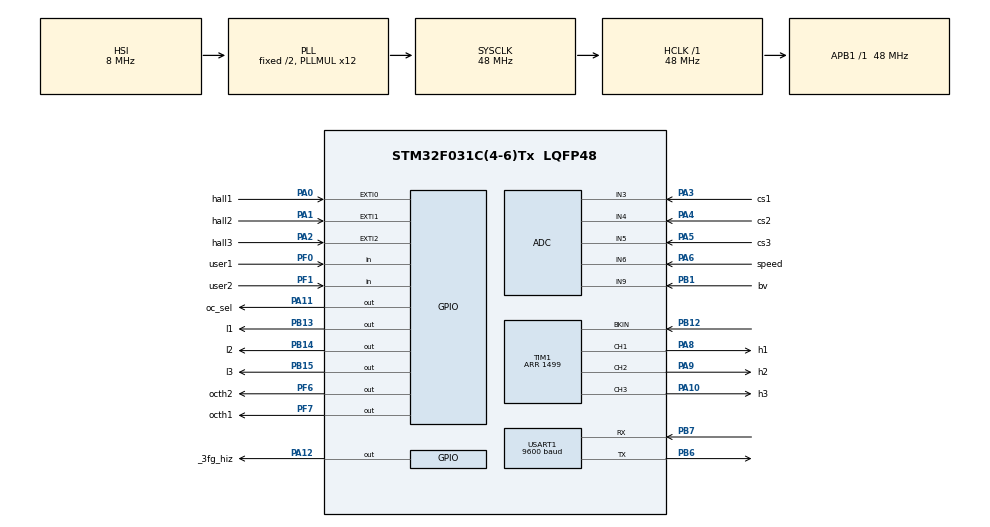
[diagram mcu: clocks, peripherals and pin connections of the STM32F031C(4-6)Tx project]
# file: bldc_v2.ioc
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Mcu.Family=STM32F0
PA11.GPIO_Speed=GPIO_SPEED_FREQ_HIGH
PA6.Mode=IN6
Dma.ADC.0.Mode=DMA_CIRCULAR
TIM1.RepetitionCounter=1
USART1.BaudRate=9600
PB14.GPIO_Label=l2
PA0.GPIO_Label=hall1
Dma.ADC.0.Priority=DMA_PRIORITY_LOW
PA6.GPIO_Label=speed
PB13.GPIO_Label=l1
PB13.Signal=GPIO_Output
PB15.Signal=GPIO_Output
PF6.GPIO_Label=octh2
RCC.SYSCLKSource=RCC_SYSCLKSOURCE_PLLCLK
ProjectManager.StackSize=0x400
PA12.Signal=GPIO_Output
PA4.Mode=IN4
PF7.Signal=GPIO_Output
Dma.ADC.0.PeriphInc=DMA_PINC_DISABLE
RCC.HCLKFreq_Value=48000000
PB6.Signal=USART1_TX
TIM1.AutomaticOutput=TIM_AUTOMATICOUTPUT_ENABLE
PB6.Mode=Asynchronous
RCC.AHBFreq_Value=48000000
Dma.ADC.0.Direction=DMA_PERIPH_TO_MEMORY
ADC.SamplingTime=ADC_SAMPLETIME_7CYCLES_5
PF0-OSC_IN.GPIO_Label=user1
RCC.PLLMUL=RCC_PLL_MUL12
PF7.GPIO_Speed=GPIO_SPEED_FREQ_HIGH
PF7.GPIO_Label=octh1
TIM1.Channel-PWM\ Generation1\ CH1=TIM_CHANNEL_1
PA14.Mode=Serial_Wire
PB1.GPIO_Label=bv
PA10.GPIO_Label=h3
PB7.Signal=USART1_RX
PA8.Signal=S_TIM1_CH1
VP_TIM1_VS_ClockSourceINT.Mode=Internal
PA0.Signal=GPXTI0
Dma.ADC.0.MemInc=DMA_MINC_ENABLE
Mcu.Package=LQFP48
PB1.Signal=ADC_IN9
PA6.Signal=ADC_IN6
PB12.Mode=Activate-Break-Input
PA2.GPIO_Label=hall3
Dma.ADC.0.Instance=DMA1_Channel1
ADC.DataAlign=ADC_DATAALIGN_RIGHT
PA10.Signal=S_TIM1_CH3
PA10.GPIO_Speed=GPIO_SPEED_FREQ_HIGH
Dma.ADC.0.MemDataAlignment=DMA_MDATAALIGN_HALFWORD
RCC.APB1TimFreq_Value=48000000
TIM1.Period=1499
Dma.Request0=ADC
PA1.GPIO_ModeDefaultEXTI=GPIO_MODE_IT_RISING_FALLING
PA4.GPIO_Label=cs2
PA8.GPIO_Speed=GPIO_SPEED_FREQ_HIGH
ADC.ExternalTrigConv=ADC_SOFTWARE_START
PA12.GPIO_Speed=GPIO_SPEED_FREQ_HIGH
PF1-OSC_OUT.Signal=GPIO_Input
PA3.Signal=ADC_IN3
PA5.Mode=IN5
PA9.GPIO_Label=h2
PA11.GPIO_Label=oc_sel
PA12.GPIO_Label=_3fg_hiz
Dma.ADC.0.PeriphDataAlignment=DMA_PDATAALIGN_HALFWORD
USART1.VirtualMode-Asynchronous=VM_ASYNC
PA3.Mode=IN3
PA13.Signal=SYS_SWDIO
TIM1.AutoReloadPreload=TIM_AUTORELOAD_PRELOAD_ENABLE
PA8.GPIO_Label=h1
SH.S_TIM1_CH1.0=TIM1_CH1,PWM Generation1 CH1
PF6.Signal=GPIO_Output
ProjectManager.TargetToolchain=STM32CubeIDE
PB14.GPIO_Speed=GPIO_SPEED_FREQ_HIGH
PA9.Signal=S_TIM1_CH2
TIM1.Channel-PWM\ Generation2\ CH2=TIM_CHANNEL_2
PB13.GPIO_Speed=GPIO_SPEED_FREQ_HIGH
PA1.Signal=GPXTI1
PB14.Signal=GPIO_Output
PA5.Signal=ADC_IN5
ADC.DMAContinuousRequests=ENABLE
board=custom
NVIC.EXTI2_3_IRQn=true\:1\:0\:true\:false\:true\:true\:true
PB15.GPIO_Label=l3
SH.S_TIM1_CH2.0=TIM1_CH2,PWM Generation2 CH2
PA0.GPIO_ModeDefaultEXTI=GPIO_MODE_IT_RISING_FALLING
PB15.GPIO_Speed=GPIO_SPEED_FREQ_HIGH
PA1.GPIO_Label=hall2
PF1-OSC_OUT.GPIO_Label=user2
ADC.EOCSelection=ADC_EOC_SINGLE_CONV
PA13.Mode=Serial_Wire
Mcu.Name=STM32F031C(4-6)Tx
PA2.Signal=GPXTI2
PA4.Signal=ADC_IN4
RCC.SYSCLKFreq_VALUE=48000000
PA5.GPIO_Label=cs3
PB7.Mode=Asynchronous
PA11.Signal=GPIO_Output
PA14.Signal=SYS_SWCLK
ProjectManager.HeapSize=0x200
PB1.Mode=IN9
SH.S_TIM1_CH3.0=TIM1_CH3,PWM Generation3 CH3
PA2.GPIO_ModeDefaultEXTI=GPIO_MODE_IT_RISING_FALLING
PA9.GPIO_Speed=GPIO_SPEED_FREQ_HIGH
PF0-OSC_IN.Signal=GPIO_Input
TIM1.Channel-PWM\ Generation3\ CH3=TIM_CHANNEL_3
RCC.APB1Freq_Value=48000000
ADC.ContinuousConvMode=ENABLE
PB12.Signal=TIM1_BKIN
PA3.GPIO_Label=cs1
PF6.GPIO_Speed=GPIO_SPEED_FREQ_HIGH
NVIC.EXTI0_1_IRQn=true\:1\:0\:true\:false\:true\:true\:true

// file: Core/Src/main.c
/* USER CODE BEGIN Header */
/**
  ******************************************************************************
  * @file           : main.c
  * @brief          : Main program body
  ******************************************************************************
  * @attention
  *
  * <h2><center>&copy; Copyright (c) 2020 STMicroelectronics.
  * All rights reserved.</center></h2>
  *
  * This software component is licensed by ST under BSD 3-Clause license,
  * the "License"; You may not use this file except in compliance with the
  * License. You may obtain a copy of the License at:
  *                        opensource.org/licenses/BSD-3-Clause
  *
  ******************************************************************************
  */
/* USER CODE END Header */
#include "main.h"

/* USER CODE BEGIN Includes */
//██████████████████████████████ EKLENEN KÜTÜPHANELER ████████████████████████████████████

#include "string.h"
#include "stdio.h"
//#include "state_machine.h"

/* USER CODE END Includes */

ADC_HandleTypeDef hadc;
DMA_HandleTypeDef hdma_adc;

TIM_HandleTypeDef htim1;

UART_HandleTypeDef huart1;

/* USER CODE BEGIN PV */
//██████████████████████████████ DEĞİŞKEN TANIMLAMALARI ████████████████████████████████████

 uint16_t duty=0,speed=0,pot=0;
 uint16_t adc_buffer[5],adc[5];
 uint8_t hall_input=0,dir=0;
 char data[15]=" ";

 uint8_t ilk=0,ilk2=0,ilk3=0,cw=0,start_flag=0;

/* USER CODE END PV */

void SystemClock_Config(void);
static void MX_GPIO_Init(void);
static void MX_DMA_Init(void);
static void MX_USART1_UART_Init(void);
static void MX_TIM1_Init(void);
static void MX_ADC_Init(void);
/* USER CODE BEGIN PFP */
//██████████████████████████████ FONKSİYON PROTOTİPLERİ ████████████████████████████████████

/* USER CODE END PFP */

int main(void)
{

  /* MCU Configuration--------------------------------------------------------*/

  /* Reset of all peripherals, Initializes the Flash interface and the Systick. */
  HAL_Init();

  /* Configure the system clock */
  SystemClock_Config();

  /* Initialize all configured peripherals */
  MX_GPIO_Init();
  MX_DMA_Init();
  MX_USART1_UART_Init();
  MX_TIM1_Init();
  MX_ADC_Init();
  /* USER CODE BEGIN 2 */
  //██████████████████████████████ İLK KURULUMLAR ████████████████████████████████████

       __HAL_TIM_SET_COMPARE(&htim1,TIM_CHANNEL_1,0);
       __HAL_TIM_SET_COMPARE(&htim1,TIM_CHANNEL_2,0);
       __HAL_TIM_SET_COMPARE(&htim1,TIM_CHANNEL_3,0);

       HAL_ADC_Start_DMA(&hadc, (uint32_t*)adc_buffer, 5);

       HAL_GPIO_WritePin(GPIOF, GPIO_PIN_6, GPIO_PIN_RESET); // OverCurrent comparator threshold=100mV , 20A
       HAL_GPIO_WritePin(GPIOF, GPIO_PIN_7, GPIO_PIN_SET);

       HAL_GPIO_WritePin(GPIOA, GPIO_PIN_7, GPIO_PIN_RESET); // 3FG function disabled

       HAL_GPIO_WritePin(GPIOA, GPIO_PIN_11, GPIO_PIN_SET);  // OverCurrent protection enabled, (OC_SEL)

       GPIOB->ODR &= 0x01FF;  // PB13-14-15 turned off

  /* USER CODE END 2 */

  /* Infinite loop */
  /* USER CODE BEGIN WHILE */

  while (1)
  {
//	  	sprintf(data,"cs1=%d\n\r",adc[0]);
//	  	HAL_UART_Transmit(&huart1, (uint8_t*)data, strlen(data), 100);
//	  	sprintf(data,"cs2=%d\n\r",adc[1]);
//	  	HAL_UART_Transmit(&huart1, (uint8_t*)data, strlen(data), 100);
//	  	sprintf(data,"cs3=%d\n\r",adc[2]);
//	  	HAL_UART_Transmit(&huart1, (uint8_t*)data, strlen(data), 100);
//	    sprintf(data,"cs4=%d\n\r",adc[3]);
//	    HAL_UART_Transmit(&huart1, (uint8_t*)data, strlen(data), 100);
//	  	sprintf(data,"cs5=%d\n\r",adc[4]);
//	  	HAL_UART_Transmit(&huart1, (uint8_t*)data, strlen(data), 100);

//	 	sprintf(data,"Hall_input=%d\n\r",hall_input);
//	 	HAL_UART_Transmit(&huart1, (uint8_t*)data, strlen(data), 1000);

//	    sprintf(data,"duty=%d\n\r",duty);
//	    HAL_UART_Transmit(&huart1, (uint8_t*)data, strlen(data), 100);

		adc[0]=adc_buffer[0];
		adc[1]=adc_buffer[1];
		adc[2]=adc_buffer[2];
		adc[3]=adc_buffer[3];
		adc[4]=adc_buffer[4];

	  	HAL_Delay(20);

	  if(HAL_GPIO_ReadPin(GPIOF, GPIO_PIN_0)==GPIO_PIN_RESET && ilk==0){
		  if(ilk==0){
			  ilk=1;
			  if(start_flag==0)start_flag=1;
			  else start_flag=0;
		  }
	  }
	  else if(HAL_GPIO_ReadPin(GPIOF, GPIO_PIN_0)==GPIO_PIN_SET){
		  ilk=0;
	  }

	  if(HAL_GPIO_ReadPin(GPIOF, GPIO_PIN_1)==GPIO_PIN_RESET && ilk3==0){
	  		  if(ilk3==0){
	  			  ilk3=1;
	  			  if(cw==0)cw=1;
	  			  else cw=0;
	  		  }
	  	  }
	  	  else if(HAL_GPIO_ReadPin(GPIOF, GPIO_PIN_1)==GPIO_PIN_SET){
	  		  ilk3=0;
	  	  }

	  if(start_flag==1){
		  duty=adc[3]*1600/4095;
		  if(duty>1500)duty=1500;
		  if(ilk2==0){
			  HAL_TIM_PWM_Start(&htim1, TIM_CHANNEL_1);
			  HAL_TIM_PWM_Start(&htim1, TIM_CHANNEL_2);
			  HAL_TIM_PWM_Start(&htim1, TIM_CHANNEL_3);
			  __HAL_GPIO_EXTI_GENERATE_SWIT(GPIO_PIN_0);
		  }
	  }
	  else{
		  duty=0;
		  HAL_TIM_PWM_Stop(&htim1, TIM_CHANNEL_1);
		  HAL_TIM_PWM_Stop(&htim1, TIM_CHANNEL_2);
		  HAL_TIM_PWM_Stop(&htim1, TIM_CHANNEL_3);
//		  TIM1->CCR2=0;
//		  TIM1->CCR1=0;
//		  TIM1->CCR3=0;
//		  GPIOB->ODR &= 0x1FFF;
	  }

    /* USER CODE END WHILE */

  }
}

void SystemClock_Config(void)
{
  RCC_OscInitTypeDef RCC_OscInitStruct = {0};
  RCC_ClkInitTypeDef RCC_ClkInitStruct = {0};
  RCC_PeriphCLKInitTypeDef PeriphClkInit = {0};

  /** Initializes the RCC Oscillators according to the specified parameters
  * in the RCC_OscInitTypeDef structure.
  */
  RCC_OscInitStruct.OscillatorType = RCC_OSCILLATORTYPE_HSI|RCC_OSCILLATORTYPE_HSI14;
  RCC_OscInitStruct.HSIState = RCC_HSI_ON;
  RCC_OscInitStruct.HSI14State = RCC_HSI14_ON;
  RCC_OscInitStruct.HSICalibrationValue = RCC_HSICALIBRATION_DEFAULT;
  RCC_OscInitStruct.HSI14CalibrationValue = 16;
  RCC_OscInitStruct.PLL.PLLState = RCC_PLL_ON;
  RCC_OscInitStruct.PLL.PLLSource = RCC_PLLSOURCE_HSI;
  RCC_OscInitStruct.PLL.PLLMUL = RCC_PLL_MUL12;
  RCC_OscInitStruct.PLL.PREDIV = RCC_PREDIV_DIV1;
  if (HAL_RCC_OscConfig(&RCC_OscInitStruct) != HAL_OK)
  {
    Error_Handler();
  }
  /** Initializes the CPU, AHB and APB buses clocks
  */
  RCC_ClkInitStruct.ClockType = RCC_CLOCKTYPE_HCLK|RCC_CLOCKTYPE_SYSCLK
                              |RCC_CLOCKTYPE_PCLK1;
  RCC_ClkInitStruct.SYSCLKSource = RCC_SYSCLKSOURCE_PLLCLK;
  RCC_ClkInitStruct.AHBCLKDivider = RCC_SYSCLK_DIV1;
  RCC_ClkInitStruct.APB1CLKDivider = RCC_HCLK_DIV1;

  if (HAL_RCC_ClockConfig(&RCC_ClkInitStruct, FLASH_LATENCY_1) != HAL_OK)
  {
    Error_Handler();
  }
  PeriphClkInit.PeriphClockSelection = RCC_PERIPHCLK_USART1;
  PeriphClkInit.Usart1ClockSelection = RCC_USART1CLKSOURCE_PCLK1;
  if (HAL_RCCEx_PeriphCLKConfig(&PeriphClkInit) != HAL_OK)
  {
    Error_Handler();
  }
}

static void MX_ADC_Init(void)
{

  ADC_ChannelConfTypeDef sConfig = {0};

  /** Configure the global features of the ADC (Clock, Resolution, Data Alignment and number of conversion)
  */
  hadc.Instance = ADC1;
  hadc.Init.ClockPrescaler = ADC_CLOCK_ASYNC_DIV1;
  hadc.Init.Resolution = ADC_RESOLUTION_12B;
  hadc.Init.DataAlign = ADC_DATAALIGN_RIGHT;
  hadc.Init.ScanConvMode = ADC_SCAN_DIRECTION_FORWARD;
  hadc.Init.EOCSelection = ADC_EOC_SINGLE_CONV;
  hadc.Init.LowPowerAutoWait = DISABLE;
  hadc.Init.LowPowerAutoPowerOff = DISABLE;
  hadc.Init.ContinuousConvMode = ENABLE;
  hadc.Init.DiscontinuousConvMode = DISABLE;
  hadc.Init.ExternalTrigConv = ADC_SOFTWARE_START;
  hadc.Init.ExternalTrigConvEdge = ADC_EXTERNALTRIGCONVEDGE_NONE;
  hadc.Init.DMAContinuousRequests = ENABLE;
  hadc.Init.Overrun = ADC_OVR_DATA_PRESERVED;
  if (HAL_ADC_Init(&hadc) != HAL_OK)
  {
    Error_Handler();
  }
  /** Configure for the selected ADC regular channel to be converted.
  */
  sConfig.Channel = ADC_CHANNEL_3;
  sConfig.Rank = ADC_RANK_CHANNEL_NUMBER;
  sConfig.SamplingTime = ADC_SAMPLETIME_7CYCLES_5;
  if (HAL_ADC_ConfigChannel(&hadc, &sConfig) != HAL_OK)
  {
    Error_Handler();
  }
  /** Configure for the selected ADC regular channel to be converted.
  */
  sConfig.Channel = ADC_CHANNEL_4;
  if (HAL_ADC_ConfigChannel(&hadc, &sConfig) != HAL_OK)
  {
    Error_Handler();
  }
  /** Configure for the selected ADC regular channel to be converted.
  */
  sConfig.Channel = ADC_CHANNEL_5;
  if (HAL_ADC_ConfigChannel(&hadc, &sConfig) != HAL_OK)
  {
    Error_Handler();
  }
  /** Configure for the selected ADC regular channel to be converted.
  */
  sConfig.Channel = ADC_CHANNEL_6;
  if (HAL_ADC_ConfigChannel(&hadc, &sConfig) != HAL_OK)
  {
    Error_Handler();
  }
  /** Configure for the selected ADC regular channel to be converted.
  */
  sConfig.Channel = ADC_CHANNEL_9;
  if (HAL_ADC_ConfigChannel(&hadc, &sConfig) != HAL_OK)
  {
    Error_Handler();
  }

}

static void MX_TIM1_Init(void)
{

  TIM_ClockConfigTypeDef sClockSourceConfig = {0};
  TIM_MasterConfigTypeDef sMasterConfig = {0};
  TIM_OC_InitTypeDef sConfigOC = {0};
  TIM_BreakDeadTimeConfigTypeDef sBreakDeadTimeConfig = {0};

  htim1.Instance = TIM1;
  htim1.Init.Prescaler = 0;
  htim1.Init.CounterMode = TIM_COUNTERMODE_UP;
  htim1.Init.Period = 1499;
  htim1.Init.ClockDivision = TIM_CLOCKDIVISION_DIV1;
  htim1.Init.RepetitionCounter = 1;
  htim1.Init.AutoReloadPreload = TIM_AUTORELOAD_PRELOAD_ENABLE;
  if (HAL_TIM_Base_Init(&htim1) != HAL_OK)
  {
    Error_Handler();
  }
  sClockSourceConfig.ClockSource = TIM_CLOCKSOURCE_INTERNAL;
  if (HAL_TIM_ConfigClockSource(&htim1, &sClockSourceConfig) != HAL_OK)
  {
    Error_Handler();
  }
  if (HAL_TIM_PWM_Init(&htim1) != HAL_OK)
  {
    Error_Handler();
  }
  sMasterConfig.MasterOutputTrigger = TIM_TRGO_RESET;
  sMasterConfig.MasterSlaveMode = TIM_MASTERSLAVEMODE_DISABLE;
  if (HAL_TIMEx_MasterConfigSynchronization(&htim1, &sMasterConfig) != HAL_OK)
  {
    Error_Handler();
  }
  sConfigOC.OCMode = TIM_OCMODE_PWM1;
  sConfigOC.Pulse = 0;
  sConfigOC.OCPolarity = TIM_OCPOLARITY_HIGH;
  sConfigOC.OCNPolarity = TIM_OCNPOLARITY_HIGH;
  sConfigOC.OCFastMode = TIM_OCFAST_DISABLE;
  sConfigOC.OCIdleState = TIM_OCIDLESTATE_RESET;
  sConfigOC.OCNIdleState = TIM_OCNIDLESTATE_RESET;
  if (HAL_TIM_PWM_ConfigChannel(&htim1, &sConfigOC, TIM_CHANNEL_1) != HAL_OK)
  {
    Error_Handler();
  }
  if (HAL_TIM_PWM_ConfigChannel(&htim1, &sConfigOC, TIM_CHANNEL_2) != HAL_OK)
  {
    Error_Handler();
  }
  if (HAL_TIM_PWM_ConfigChannel(&htim1, &sConfigOC, TIM_CHANNEL_3) != HAL_OK)
  {
    Error_Handler();
  }
  sBreakDeadTimeConfig.OffStateRunMode = TIM_OSSR_DISABLE;
  sBreakDeadTimeConfig.OffStateIDLEMode = TIM_OSSI_DISABLE;
  sBreakDeadTimeConfig.LockLevel = TIM_LOCKLEVEL_OFF;
  sBreakDeadTimeConfig.DeadTime = 0;
  sBreakDeadTimeConfig.BreakState = TIM_BREAK_ENABLE;
  sBreakDeadTimeConfig.BreakPolarity = TIM_BREAKPOLARITY_HIGH;
  sBreakDeadTimeConfig.AutomaticOutput = TIM_AUTOMATICOUTPUT_ENABLE;
  if (HAL_TIMEx_ConfigBreakDeadTime(&htim1, &sBreakDeadTimeConfig) != HAL_OK)
  {
    Error_Handler();
  }
  HAL_TIM_MspPostInit(&htim1);

}

static void MX_USART1_UART_Init(void)
{

  huart1.Instance = USART1;
  huart1.Init.BaudRate = 9600;
  huart1.Init.WordLength = UART_WORDLENGTH_8B;
  huart1.Init.StopBits = UART_STOPBITS_1;
  huart1.Init.Parity = UART_PARITY_NONE;
  huart1.Init.Mode = UART_MODE_TX_RX;
  huart1.Init.HwFlowCtl = UART_HWCONTROL_NONE;
  huart1.Init.OverSampling = UART_OVERSAMPLING_16;
  huart1.Init.OneBitSampling = UART_ONE_BIT_SAMPLE_DISABLE;
  huart1.AdvancedInit.AdvFeatureInit = UART_ADVFEATURE_NO_INIT;
  if (HAL_UART_Init(&huart1) != HAL_OK)
  {
    Error_Handler();
  }

}

static void MX_DMA_Init(void)
{

  /* DMA controller clock enable */
  __HAL_RCC_DMA1_CLK_ENABLE();

}

static void MX_GPIO_Init(void)
{
  GPIO_InitTypeDef GPIO_InitStruct = {0};

  /* GPIO Ports Clock Enable */
  __HAL_RCC_GPIOF_CLK_ENABLE();
  __HAL_RCC_GPIOA_CLK_ENABLE();
  __HAL_RCC_GPIOB_CLK_ENABLE();

  /*Configure GPIO pin Output Level */
  HAL_GPIO_WritePin(GPIOB, l1_Pin|l2_Pin|l3_Pin, GPIO_PIN_RESET);

  /*Configure GPIO pin Output Level */
  HAL_GPIO_WritePin(GPIOA, oc_sel_Pin|_3fg_hiz_Pin, GPIO_PIN_RESET);

  /*Configure GPIO pin Output Level */
  HAL_GPIO_WritePin(GPIOF, octh2_Pin|octh1_Pin, GPIO_PIN_RESET);

  /*Configure GPIO pins : user1_Pin user2_Pin */
  GPIO_InitStruct.Pin = user1_Pin|user2_Pin;
  GPIO_InitStruct.Mode = GPIO_MODE_INPUT;
  GPIO_InitStruct.Pull = GPIO_NOPULL;
  HAL_GPIO_Init(GPIOF, &GPIO_InitStruct);

  /*Configure GPIO pins : hall1_Pin hall2_Pin hall3_Pin */
  GPIO_InitStruct.Pin = hall1_Pin|hall2_Pin|hall3_Pin;
  GPIO_InitStruct.Mode = GPIO_MODE_IT_RISING_FALLING;
  GPIO_InitStruct.Pull = GPIO_NOPULL;
  HAL_GPIO_Init(GPIOA, &GPIO_InitStruct);

  /*Configure GPIO pins : l1_Pin l2_Pin l3_Pin */
  GPIO_InitStruct.Pin = l1_Pin|l2_Pin|l3_Pin;
  GPIO_InitStruct.Mode = GPIO_MODE_OUTPUT_PP;
  GPIO_InitStruct.Pull = GPIO_NOPULL;
  GPIO_InitStruct.Speed = GPIO_SPEED_FREQ_HIGH;
  HAL_GPIO_Init(GPIOB, &GPIO_InitStruct);

  /*Configure GPIO pins : oc_sel_Pin _3fg_hiz_Pin */
  GPIO_InitStruct.Pin = oc_sel_Pin|_3fg_hiz_Pin;
  GPIO_InitStruct.Mode = GPIO_MODE_OUTPUT_PP;
  GPIO_InitStruct.Pull = GPIO_NOPULL;
  GPIO_InitStruct.Speed = GPIO_SPEED_FREQ_HIGH;
  HAL_GPIO_Init(GPIOA, &GPIO_InitStruct);

  /*Configure GPIO pins : octh2_Pin octh1_Pin */
  GPIO_InitStruct.Pin = octh2_Pin|octh1_Pin;
  GPIO_InitStruct.Mode = GPIO_MODE_OUTPUT_PP;
  GPIO_InitStruct.Pull = GPIO_NOPULL;
  GPIO_InitStruct.Speed = GPIO_SPEED_FREQ_HIGH;
  HAL_GPIO_Init(GPIOF, &GPIO_InitStruct);

  /* EXTI interrupt init*/
  HAL_NVIC_SetPriority(EXTI0_1_IRQn, 1, 0);
  HAL_NVIC_EnableIRQ(EXTI0_1_IRQn);

  HAL_NVIC_SetPriority(EXTI2_3_IRQn, 1, 0);
  HAL_NVIC_EnableIRQ(EXTI2_3_IRQn);

}

/* USER CODE BEGIN 4 */
//██████████████████████████████ KULLANICI TANIMLI FONKSİYONLAR ████████████████████████████████████

void HAL_ADC_ConvCpltCallback(ADC_HandleTypeDef* hadc){

}

void HAL_GPIO_EXTI_Callback(uint16_t GPIO_Pin){

	hall_input= GPIOA->IDR & 0x7;

	if(!start_flag)hall_input=0;

		if(cw==0)
		switch(hall_input){
			 case 1:{
				 TIM1->CCR2=0;
				 TIM1->CCR1=0;
				 GPIOB->ODR &= 0x1FFF;
				 TIM1->CCR3=duty;
				 GPIOB->ODR |= 0x2000;
				 break;
				 }
			 case 2:{
				 TIM1->CCR1=0;
				 TIM1->CCR3=0;
				 GPIOB->ODR &= 0x1FFF;
				 TIM1->CCR2=duty;
				 GPIOB->ODR |= 0x8000;
				 break;
				 }
			 case 3:{
				 TIM1->CCR1=0;
				 TIM1->CCR3=0;
				 GPIOB->ODR &= 0x1FFF;
				 TIM1->CCR2=duty;
				 GPIOB->ODR |= 0x2000;
				 break;
				 }
			 case 4:{
				 TIM1->CCR2=0;
				 TIM1->CCR3=0;
				 GPIOB->ODR &= 0x1FFF;
				 TIM1->CCR1=duty;
				 GPIOB->ODR |= 0x4000;
				 break;
				 }
			 case 5:{
				 TIM1->CCR1=0;
				 TIM1->CCR2=0;
				 GPIOB->ODR &= 0x1FFF;
				 TIM1->CCR3=duty;
				 GPIOB->ODR |= 0x4000;
				 break;
				 }
			 case 6:{
				 TIM1->CCR2=0;
				 TIM1->CCR3=0;
				 GPIOB->ODR &= 0x1FFF;
				 TIM1->CCR1=duty;
				 GPIOB->ODR |= 0x8000;
				 break;
				 }
			 default:{
				 TIM1->CCR2=0;
				 TIM1->CCR1=0;
				 TIM1->CCR3=0;
				 GPIOB->ODR &= 0x1FFF;
				 break;
				 }
			 }
		else{
		switch(hall_input){
			case 1:{
				TIM1->CCR2=0;
				TIM1->CCR3=0;
				GPIOB->ODR &= 0x1FFF;
				TIM1->CCR1=duty;
				GPIOB->ODR |= 0x8000;
				break;
			 }
			case 2:{
				TIM1->CCR1=0;
				TIM1->CCR2=0;
				GPIOB->ODR &= 0x1FFF;
				TIM1->CCR3=duty;
				GPIOB->ODR |= 0x4000;
				break;
			 }
			case 3:{
				 TIM1->CCR2=0;
				 TIM1->CCR3=0;
				 GPIOB->ODR &= 0x1FFF;
				 TIM1->CCR1=duty;
				 GPIOB->ODR |= 0x4000;
				 break;
			 }
			case 4:{
				 TIM1->CCR1=0;
				 TIM1->CCR3=0;
				 GPIOB->ODR &= 0x1FFF;
				 TIM1->CCR2=duty;
				 GPIOB->ODR |= 0x2000;
				 break;
			 }
			case 5:{
				 TIM1->CCR1=0;
				 TIM1->CCR3=0;
				 GPIOB->ODR &= 0x1FFF;
				 TIM1->CCR2=duty;
				 GPIOB->ODR |= 0x8000;
				 break;
			 }
			case 6:{
				 TIM1->CCR2=0;
				 TIM1->CCR1=0;
				 GPIOB->ODR &= 0x1FFF;
				 TIM1->CCR3=duty;
				 GPIOB->ODR |= 0x2000;
				 break;
			 }
			default:{
				 TIM1->CCR2=0;
				 TIM1->CCR1=0;
				 TIM1->CCR3=0;
				 GPIOB->ODR &= 0x1FFF;
				 break;
			 }
			}
		}

}

/* USER CODE END 4 */

void Error_Handler(void)
{
  __disable_irq();
  while (1)
  {
  }
}

/************************ (C) COPYRIGHT STMicroelectronics *****END OF FILE****/
